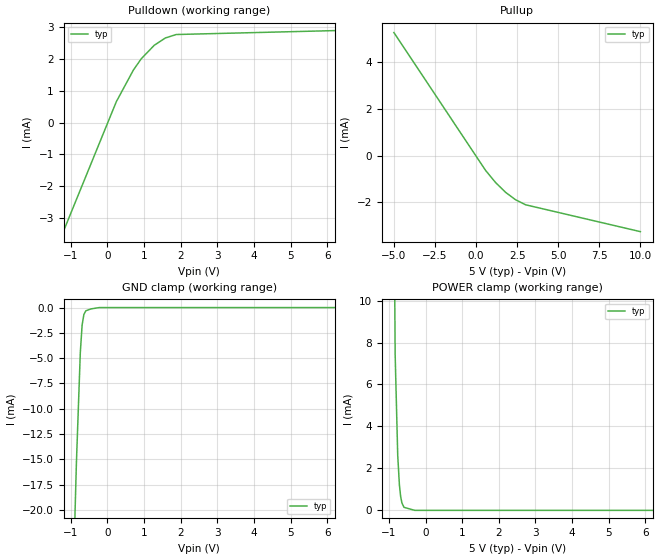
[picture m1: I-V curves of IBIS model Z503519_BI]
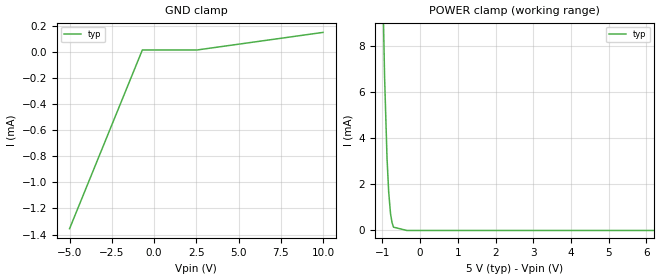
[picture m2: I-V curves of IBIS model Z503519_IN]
| YOU ARE ONLY AUTHORIZED TO USE THIS SOFTWARE
| ACCORDING TO LICENSOR'S LICENSE RESTRICTIONS.
[IBIS Ver] 3.1
[File Name] mc14034bcp.ibs
[File Rev] 2.0
[Source] Measured and created by ICX Technology
[Date] Friday 7/14/00 9:07:52 AM
[Copyright]
| (C) COPYRIGHT 1993-2000
| MENTOR GRAPHICS CORPORATION
| ICX STANDARD LIBRARY, ICX PROJECT MODELING,
| ICX CUSTOM MODELING, ICX VENDOR MODEL
| ALL RIGHTS RESERVED.
| THE FOLLOWING ARE TRADEMARKS OR SERVICE MARKS OF
| MENTOR GRAPHICS CORPORATION:ICX (R), ICX STANDARD
| LIBRARY(R), ICX PROJECT MODELING(R), ICX CUSTOM
| MODELING(R), qualityIBIS(TM), MODELVIEWER(TM),
| AND MODELEDITOR(TM)
| ALL COPIES OF SOFTWARE, INCLUDING BUT NOT LIMITED TO
| ANY MODIFICATIONS, ENHANCEMENTS OR DERIVATIVE WORKS,
| MUST CONTAIN ALL MENTOR GRAPHICS CORPORATION'S
| NOTICES AND LEGENDS, INCLUDING THOSE EMBEDDED IN
| SOFTWARE AND THOSE AFFIXED TO SOFTWARE MEDIUM
| AND CONTAINER, AS RECEIVED FROM MENTOR GRAPHICS
| CORPORATION.
|  ZAP Model Builder 2.7
[Component] MC14034BCP
[Manufacturer] OnSemiconductor
[Package]
| variable   typ   min   max
R_pkg  .32ohms NA NA
L_pkg  7.343nH NA NA
C_pkg  1.787pF NA NA
[Pin] signal_name  model_name  R_pin  L_pin C_pin
1 B8 Z503519_BI .34 11.51n 2.512p
2 B7 Z503519_BI .332 9.51n 2.222p
3 B6 Z503519_BI .324 7.76n 1.932p
4 B5 Z503519_BI .316 6.26n 1.642p
5 B4 Z503519_BI .308 5.01n 1.352p
6 B3 Z503519_BI .3 4.01n 1.062p
7 B2 Z503519_BI .3 4.01n 1.062p
8 B1 Z503519_BI .308 5.01n 1.352p
9 EN Z503519_IN .316 6.26n 1.642p
10 DS Z503519_IN .324 7.76n 1.932p
11 A/B Z503519_IN .332 9.51n 2.222p
12 VSS POWER .34 11.51n 2.512p
13 P/S Z503519_IN .34 11.51n 2.512p
14 A/S Z503519_IN .332 9.51n 2.222p
15 C Z503519_IN .324 7.76n 1.932p
16 A1 Z503519_BI .316 6.26n 1.642p
17 A2 Z503519_BI .308 5.01n 1.352p
18 A3 Z503519_BI .3 4.01n 1.062p
19 A4 Z503519_BI .3 4.01n 1.062p
20 A5 Z503519_BI .308 5.01n 1.352p
21 A6 Z503519_BI .316 6.26n 1.642p
22 A7 Z503519_BI .324 7.76n 1.932p
23 A8 Z503519_BI .332 9.51n 2.222p
24 VDD POWER .34 11.51n 2.512p
| Models and submodels in the file (2): Z503519_BI (I/O), Z503519_IN (Input)
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| (C) COPYRIGHT 1993-2000
| MENTOR GRAPHICS CORPORATION
| ICX STANDARD LIBRARY, ICX PROJECT MODELING,
| ICX CUSTOM MODELING, ICX VENDOR MODEL
| ALL RIGHTS RESERVED.
| THE FOLLOWING ARE TRADEMARKS OR SERVICE MARKS OF
| MENTOR GRAPHICS CORPORATION:ICX (R), ICX STANDARD
| LIBRARY(R), ICX PROJECT MODELING(R), ICX CUSTOM
| MODELING(R), qualityIBIS(TM), MODELVIEWER(TM),
| AND MODELEDITOR(TM)
| ALL COPIES OF SOFTWARE, INCLUDING BUT NOT LIMITED TO
| ANY MODIFICATIONS, ENHANCEMENTS OR DERIVATIVE WORKS,
| MUST CONTAIN ALL MENTOR GRAPHICS CORPORATION'S
| NOTICES AND LEGENDS, INCLUDING THOSE EMBEDDED IN
| SOFTWARE AND THOSE AFFIXED TO SOFTWARE MEDIUM
| AND CONTAINER, AS RECEIVED FROM MENTOR GRAPHICS
| CORPORATION.
| Model Application Version 1.89 2/18/99.
[Model] Z503519_BI
Model_type I/O
Vinl=1.500V
Vinh=3.500V
Vref=0.000V
Rref=500.0Mohms
Cref=50.00pF
Vmeas=2.500V
C_comp 8.000pF NA NA
| variable typ   min   max
[Voltage Range] 5.000V NA NA
[POWER Clamp Reference] 5.000V NA NA
[Pullup Reference] 5.000V NA NA
[Pulldown Reference] 0.000V NA NA
[GND Clamp Reference] 0.000V NA NA
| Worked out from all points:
|   slope of the pulldown table from 0 to 0.75 V, typ, clamps not added: 428 ohm
|   slope of the pullup table from 0 to 0.75 V, typ, clamps not added: 991 ohm
|   GND clamp passes 1 mA (typ) near -0.66 V on its own axis
|   POWER clamp passes 1 mA (typ) near -0.70 V on its own axis
[GND Clamp]
-5V       -562.4mA   NA         NA
-849mV    -15.41mA   NA         NA
-742.2mV  -4.477mA   NA         NA
-693.4mV  -1.747mA   NA         NA
-643.3mV  -668.3uA   NA         NA
-590.1mV  -314.9uA   NA         NA
-453.9mV  -134.4uA   NA         NA
-227mV    0A         NA         NA
10V       0A         NA         NA
[Pulldown]
-5V       -14.18mA   NA         NA
240.7mV   657.7uA    NA         NA
708mV     1.658mA    NA         NA
922.9mV   2.013mA    NA         NA
1.279V    2.439mA    NA         NA
1.58V     2.666mA    NA         NA
1.875V    2.775mA    NA         NA
10V       3.007mA    NA         NA
[Pullup]
-5V       5.263mA    NA         NA
577mV     -629.3uA   NA         NA
1.191V    -1.153mA   NA         NA
1.806V    -1.574mA   NA         NA
2.402V    -1.884mA   NA         NA
3.018V    -2.102mA   NA         NA
10V       -3.25mA    NA         NA
[POWER Clamp]
-5V       1.083A     NA         NA
-829mV    7.435mA    NA         NA
-759mV    2.624mA    NA         NA
-713mV    1.21mA     NA         NA
-679mV    664.2uA    NA         NA
-644mV    349.2uA    NA         NA
-586mV    143uA      NA         NA
-293mV    0A         NA         NA
10V       0A         NA         NA
[Ramp]
| variable typ min max
dV/dt_r 2.076/44.34n NA NA
dV/dt_f 2.076/31.92n NA NA
R_load = 2.500kOhms
| (C) COPYRIGHT 1993-2000
| MENTOR GRAPHICS CORPORATION
| ICX STANDARD LIBRARY, ICX PROJECT MODELING,
| ICX CUSTOM MODELING, ICX VENDOR MODEL
| ALL RIGHTS RESERVED.
| THE FOLLOWING ARE TRADEMARKS OR SERVICE MARKS OF
| MENTOR GRAPHICS CORPORATION:ICX (R), ICX STANDARD
| LIBRARY(R), ICX PROJECT MODELING(R), ICX CUSTOM
| MODELING(R), qualityIBIS(TM), MODELVIEWER(TM),
| AND MODELEDITOR(TM)
| ALL COPIES OF SOFTWARE, INCLUDING BUT NOT LIMITED TO
| ANY MODIFICATIONS, ENHANCEMENTS OR DERIVATIVE WORKS,
| MUST CONTAIN ALL MENTOR GRAPHICS CORPORATION'S
| NOTICES AND LEGENDS, INCLUDING THOSE EMBEDDED IN
| SOFTWARE AND THOSE AFFIXED TO SOFTWARE MEDIUM
| AND CONTAINER, AS RECEIVED FROM MENTOR GRAPHICS
| CORPORATION.
| Model Application Version 1.89 2/18/99.
[Model] Z503519_IN
Model_type Input
Vinl = 1.500V
Vinh = 3.500V
C_comp 4.000pF NA NA
| variable typ   min   max
[Voltage Range] 5.000V NA NA
[GND Clamp Reference] 0.000V NA NA
[POWER Clamp Reference] 5.000V NA NA
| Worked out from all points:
|   POWER clamp passes 1 mA (typ) near -0.80 V on its own axis
[GND Clamp]
-5V       -1.355mA   NA         NA
-693.5mV  15.11uA    NA         NA
2.55V     15.11uA    NA         NA
10V       149.8uA    NA         NA
[POWER Clamp]
-5V       461.4mA    NA         NA
-1.054V   15.74mA    NA         NA
-944mV    6.658mA    NA         NA
-879mV    3.132mA    NA         NA
-835mV    1.672mA    NA         NA
-786mV    724.9uA    NA         NA
-747mV    350.4uA    NA         NA
-709mV    144.9uA    NA         NA
-354.5mV  0A         NA         NA
10V       0A         NA         NA
